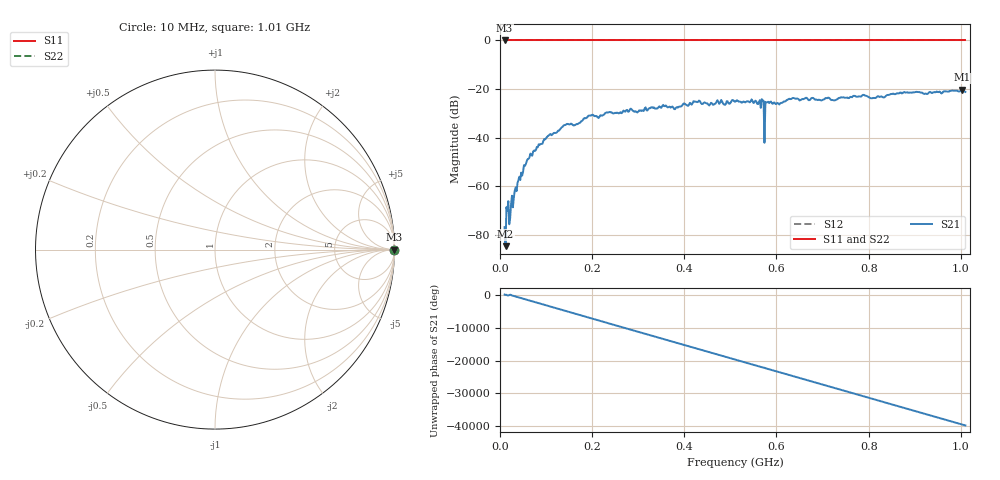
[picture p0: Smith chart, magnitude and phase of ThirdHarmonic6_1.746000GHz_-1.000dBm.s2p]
! 8/16/2025 9:03:31 PM
! C:\ANRITSUVNA\TEMP\TEMP.S2P
! CHANNEL.1
! TR.MEASUREMENT
! RAW.DATA
! RF.CORRECTION.OFF
! AVERAGING.OFF
! IF.BANDWIDTH: 5KHZ
! SWEEPTYPE:  FREQ.SWEEP(Linear)
! Reference Plane Port Info
! PORT:  PORT1  PORT2
! DISTANCE:  0  m  0  m
! TIME:  0  s  0  s
! PHASE.OFFSET:  0  deg.  0  deg.
! LOSS:  0  dB  0  dB
! REF.LOSS:  0  dB  0  dB
! REF.FREQ:  0  Hz  0  Hz
! Power Info
! POWER:  -20  dBm  -20  dBm
! EFF.POWER:  -20  dBm  -20  dBm
! SOURCE.ATTEN:  0  dB  0  dB
! TEST.ATTEN:  0  dB  0  dB
# GHZ S RI R 50.0
! FREQ.GHZ  S11RE  S11IM  S21RE  S21IM  S12RE  S12IM  S22RE  S22IM
!; PortSelection: Port_12
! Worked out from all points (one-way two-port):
!   501 points, 10 MHz to 1.01 GHz, reference 50 ohm
!   highest |S21| = -20.26 dB at 1.002 GHz (marker M1); lowest = -84.7 dB at 12 MHz (marker M2)
!   lowest |S11| = 0.0 dB at 10 MHz (marker M3)
!   |S11| at or under -10 dB: nowhere
!   |S22| runs from 0.0 to 0.0 dB; largest |S21 - S12| = 1.1
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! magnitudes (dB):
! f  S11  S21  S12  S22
! 10 MHz  0.0  -76.9  0.0  0.0
! 12 MHz  0.0  -84.7  0.0  0.0
! 18 MHz  0.0  -66.1  0.0  0.0
! 24 MHz  0.0  -67.5  0.0  0.0
! 28 MHz  0.0  -68.7  0.0  0.0
! 42 MHz  0.0  -56.1  0.0  0.0
! 62 MHz  0.0  -48.7  0.0  0.0
! 106 MHz  0.0  -39.1  0.0  0.0
! 142 MHz  0.0  -34.8  0.0  0.0
! 178 MHz  0.0  -33.2  0.0  0.0
! 234 MHz  0.0  -29.7  0.0  0.0
! 344 MHz  0.0  -27.5  0.0  0.0
! 510 MHz  0.0  -25.2  0.0  0.0
! 568 MHz  0.0  -24.2  0.0  0.0
! 570 MHz  0.0  -24.7  0.0  0.0
! 578 MHz  0.0  -25.5  0.0  0.0
! 580 MHz  0.0  -25.5  0.0  0.0
! 678 MHz  0.0  -23.6  0.0  0.0
! 724 MHz  0.0  -24.7  0.0  0.0
! 844 MHz  0.0  -22.4  0.0  0.0
! 1.002 GHz  0.0  -20.3  0.0  0.0
! 1.01 GHz  0.0  -21.2  0.0  0.0
